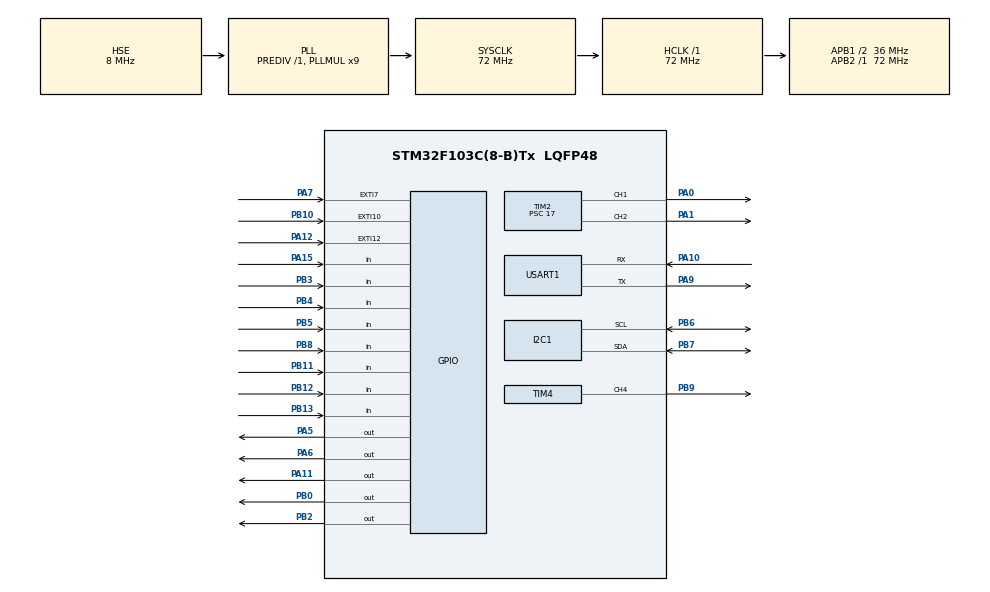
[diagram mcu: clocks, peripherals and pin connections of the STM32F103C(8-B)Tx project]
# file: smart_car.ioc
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FREERTOS.Tasks01=Microphone,0,128,TaskMicrophone,Default,NULL,Dynamic,NULL,NULL
FREERTOS.Timers01=SpeedTimer,SpeedCallback,osTimerPeriodic,Default,NULL,Dynamic,NULL
FREERTOS.configUSE_TIMERS=1
Mcu.Family=STM32F1
Mcu.Name=STM32F103C(8-B)Tx
Mcu.Package=LQFP48
NVIC.EXTI15_10_IRQn=true\:5\:0\:false\:false\:true\:true\:true\:true\:true
NVIC.EXTI9_5_IRQn=true\:5\:0\:false\:false\:true\:true\:true\:true\:true
NVIC.PriorityGroup=NVIC_PRIORITYGROUP_4
NVIC.TIM3_IRQn=true\:15\:0\:false\:false\:true\:false\:false\:true\:true
NVIC.TimeBase=TIM3_IRQn
NVIC.TimeBaseIP=TIM3
NVIC.USART1_IRQn=true\:5\:0\:false\:false\:true\:true\:true\:true\:true
PA0-WKUP.Signal=S_TIM2_CH1_ETR
PA1.Signal=S_TIM2_CH2
PA10.Mode=Asynchronous
PA10.Signal=USART1_RX
PA11.Signal=GPIO_Output
PA12.Signal=GPXTI12
PA13.Mode=Serial_Wire
PA13.Signal=SYS_JTMS-SWDIO
PA14.Mode=Serial_Wire
PA14.Signal=SYS_JTCK-SWCLK
PA15.Signal=GPIO_Input
PA5.Signal=GPIO_Output
PA6.Signal=GPIO_Output
PA7.GPIO_ModeDefaultEXTI=GPIO_MODE_IT_FALLING
PA7.GPIO_PuPd=GPIO_NOPULL
PA7.Signal=GPXTI7
PA9.Mode=Asynchronous
PA9.Signal=USART1_TX
PB0.Signal=GPIO_Output
PB10.GPIO_ModeDefaultEXTI=GPIO_MODE_IT_FALLING
PB10.Signal=GPXTI10
PB11.Signal=GPIO_Input
PB12.Signal=GPIO_Input
PB13.Signal=GPIO_Input
PB2.Signal=GPIO_Output
PB3.Signal=GPIO_Input
PB4.Signal=GPIO_Input
PB5.Signal=GPIO_Input
PB6.Mode=I2C
PB6.Signal=I2C1_SCL
PB7.Mode=I2C
PB7.Signal=I2C1_SDA
PB8.Signal=GPIO_Input
PB9.Signal=S_TIM4_CH4
PD0-OSC_IN.Mode=HSE-External-Oscillator
PD0-OSC_IN.Signal=RCC_OSC_IN
PD1-OSC_OUT.Mode=HSE-External-Oscillator
PD1-OSC_OUT.Signal=RCC_OSC_OUT
ProjectManager.HeapSize=0x200
ProjectManager.StackSize=0x400
ProjectManager.TargetToolchain=MDK-ARM V5.32
RCC.AHBFreq_Value=72000000
RCC.APB1CLKDivider=RCC_HCLK_DIV2
RCC.APB1Freq_Value=36000000
RCC.APB1TimFreq_Value=72000000
RCC.APB2Freq_Value=72000000
RCC.APB2TimFreq_Value=72000000
RCC.HCLKFreq_Value=72000000
RCC.PLLMUL=RCC_PLL_MUL9
RCC.PLLSourceVirtual=RCC_PLLSOURCE_HSE
RCC.SYSCLKFreq_VALUE=72000000
RCC.SYSCLKSource=RCC_SYSCLKSOURCE_PLLCLK
RCC.USBFreq_Value=72000000
SH.S_TIM2_CH1_ETR.0=TIM2_CH1,PWM Generation1 CH1
SH.S_TIM2_CH2.0=TIM2_CH2,PWM Generation2 CH2
SH.S_TIM4_CH4.0=TIM4_CH4,PWM Generation4 CH4
TIM1.AutoReloadPreload=TIM_AUTORELOAD_PRELOAD_ENABLE
TIM1.Prescaler=71
TIM2.AutoReloadPreload=TIM_AUTORELOAD_PRELOAD_ENABLE
TIM2.Channel-PWM\ Generation1\ CH1=TIM_CHANNEL_1
TIM2.Channel-PWM\ Generation2\ CH2=TIM_CHANNEL_2
TIM2.Period=19
TIM2.Prescaler=17
TIM4.AutoReloadPreload=TIM_AUTORELOAD_PRELOAD_ENABLE
TIM4.Channel-PWM\ Generation4\ CH4=TIM_CHANNEL_4
TIM4.Period=199
TIM4.Prescaler=7199
USART1.VirtualMode=VM_ASYNC
VP_FREERTOS_VS_CMSIS_V1.Mode=CMSIS_V1
VP_SYS_VS_tim3.Mode=TIM3
VP_TIM1_VS_ClockSourceINT.Mode=Internal
VP_TIM2_VS_ClockSourceINT.Mode=Internal
VP_TIM4_VS_ClockSourceINT.Mode=Internal
board=custom

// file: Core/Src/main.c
/* USER CODE BEGIN Header */
/**
  ******************************************************************************
  * @file           : main.c
  * @brief          : Main program body
  ******************************************************************************
  * @attention
  *
  * Copyright (c) 2023 STMicroelectronics.
  * All rights reserved.
  *
  * This software is licensed under terms that can be found in the LICENSE file
  * in the root directory of this software component.
  * If no LICENSE file comes with this software, it is provided AS-IS.
  *
  ******************************************************************************
  */
/* USER CODE END Header */
#include "main.h"
#include "cmsis_os.h"
#include "i2c.h"
#include "tim.h"
#include "usart.h"
#include "gpio.h"

/* USER CODE BEGIN Includes */
#include <stdio.h>
#include "car_function.h"
/* USER CODE END Includes */

/* USER CODE BEGIN PV */
int fputc(int ch, FILE *file) {
	unsigned char temp[1] = {ch};
	HAL_UART_Transmit(&huart1, temp, 1, 0xfff);
	return ch;
}

/* USER CODE END PV */

void SystemClock_Config(void);
void MX_FREERTOS_Init(void);

int main(void)
{

  /* MCU Configuration--------------------------------------------------------*/

  /* Reset of all peripherals, Initializes the Flash interface and the Systick. */
  HAL_Init();

  /* Configure the system clock */
  SystemClock_Config();

  /* Initialize all configured peripherals */
  MX_GPIO_Init();
  MX_USART1_UART_Init();
  MX_TIM2_Init();
  MX_I2C1_Init();
  MX_TIM1_Init();
  MX_TIM4_Init();
  /* USER CODE BEGIN 2 */
	printf("OK\r\n");
	init();
  /* USER CODE END 2 */

  /* Call init function for freertos objects (in freertos.c) */
  MX_FREERTOS_Init();

  /* Start scheduler */
  osKernelStart();

  /* We should never get here as control is now taken by the scheduler */
  /* Infinite loop */
  while (1)
  {

  }
}

void SystemClock_Config(void)
{
  RCC_OscInitTypeDef RCC_OscInitStruct = {0};
  RCC_ClkInitTypeDef RCC_ClkInitStruct = {0};

  /** Initializes the RCC Oscillators according to the specified parameters
  * in the RCC_OscInitTypeDef structure.
  */
  RCC_OscInitStruct.OscillatorType = RCC_OSCILLATORTYPE_HSE;
  RCC_OscInitStruct.HSEState = RCC_HSE_ON;
  RCC_OscInitStruct.HSEPredivValue = RCC_HSE_PREDIV_DIV1;
  RCC_OscInitStruct.HSIState = RCC_HSI_ON;
  RCC_OscInitStruct.PLL.PLLState = RCC_PLL_ON;
  RCC_OscInitStruct.PLL.PLLSource = RCC_PLLSOURCE_HSE;
  RCC_OscInitStruct.PLL.PLLMUL = RCC_PLL_MUL9;
  if (HAL_RCC_OscConfig(&RCC_OscInitStruct) != HAL_OK)
  {
    Error_Handler();
  }

  /** Initializes the CPU, AHB and APB buses clocks
  */
  RCC_ClkInitStruct.ClockType = RCC_CLOCKTYPE_HCLK|RCC_CLOCKTYPE_SYSCLK
                              |RCC_CLOCKTYPE_PCLK1|RCC_CLOCKTYPE_PCLK2;
  RCC_ClkInitStruct.SYSCLKSource = RCC_SYSCLKSOURCE_PLLCLK;
  RCC_ClkInitStruct.AHBCLKDivider = RCC_SYSCLK_DIV1;
  RCC_ClkInitStruct.APB1CLKDivider = RCC_HCLK_DIV2;
  RCC_ClkInitStruct.APB2CLKDivider = RCC_HCLK_DIV1;

  if (HAL_RCC_ClockConfig(&RCC_ClkInitStruct, FLASH_LATENCY_2) != HAL_OK)
  {
    Error_Handler();
  }
}

void HAL_TIM_PeriodElapsedCallback(TIM_HandleTypeDef *htim)
{
  if (htim->Instance == TIM3) {
    HAL_IncTick();
  }
}

void Error_Handler(void)
{
  __disable_irq();
  while (1)
  {
  }
}

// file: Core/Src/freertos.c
/* USER CODE BEGIN Header */
/**
  ******************************************************************************
  * File Name          : freertos.c
  * Description        : Code for freertos applications
  ******************************************************************************
  * @attention
  *
  * Copyright (c) 2023 STMicroelectronics.
  * All rights reserved.
  *
  * This software is licensed under terms that can be found in the LICENSE file
  * in the root directory of this software component.
  * If no LICENSE file comes with this software, it is provided AS-IS.
  *
  ******************************************************************************
  */
/* USER CODE END Header */

#include "FreeRTOS.h"
#include "task.h"
#include "main.h"
#include "cmsis_os.h"

/* USER CODE BEGIN Includes */
#include "su03.h"
#include "car_function.h"
/* USER CODE END Includes */

osThreadId MicrophoneHandle;
osTimerId SpeedTimerHandle;

void TaskMicrophone(void const * argument);
void SpeedCallback(void const * argument);

void MX_FREERTOS_Init(void); /* (MISRA C 2004 rule 8.1) */

/* GetIdleTaskMemory prototype (linked to static allocation support) */
void vApplicationGetIdleTaskMemory( StaticTask_t **ppxIdleTaskTCBBuffer, StackType_t **ppxIdleTaskStackBuffer, uint32_t *pulIdleTaskStackSize );

/* GetTimerTaskMemory prototype (linked to static allocation support) */
void vApplicationGetTimerTaskMemory( StaticTask_t **ppxTimerTaskTCBBuffer, StackType_t **ppxTimerTaskStackBuffer, uint32_t *pulTimerTaskStackSize );

/* USER CODE BEGIN GET_IDLE_TASK_MEMORY */
static StaticTask_t xIdleTaskTCBBuffer;
static StackType_t xIdleStack[configMINIMAL_STACK_SIZE];

void vApplicationGetIdleTaskMemory( StaticTask_t **ppxIdleTaskTCBBuffer, StackType_t **ppxIdleTaskStackBuffer, uint32_t *pulIdleTaskStackSize )
{
  *ppxIdleTaskTCBBuffer = &xIdleTaskTCBBuffer;
  *ppxIdleTaskStackBuffer = &xIdleStack[0];
  *pulIdleTaskStackSize = configMINIMAL_STACK_SIZE;
  /* place for user code */
}
/* USER CODE END GET_IDLE_TASK_MEMORY */

/* USER CODE BEGIN GET_TIMER_TASK_MEMORY */
static StaticTask_t xTimerTaskTCBBuffer;
static StackType_t xTimerStack[configTIMER_TASK_STACK_DEPTH];

void vApplicationGetTimerTaskMemory( StaticTask_t **ppxTimerTaskTCBBuffer, StackType_t **ppxTimerTaskStackBuffer, uint32_t *pulTimerTaskStackSize )
{
  *ppxTimerTaskTCBBuffer = &xTimerTaskTCBBuffer;
  *ppxTimerTaskStackBuffer = &xTimerStack[0];
  *pulTimerTaskStackSize = configTIMER_TASK_STACK_DEPTH;
  /* place for user code */
}
/* USER CODE END GET_TIMER_TASK_MEMORY */

void MX_FREERTOS_Init(void) {

  /* Create the timer(s) */
  /* definition and creation of SpeedTimer */
  osTimerDef(SpeedTimer, SpeedCallback);
  SpeedTimerHandle = osTimerCreate(osTimer(SpeedTimer), osTimerPeriodic, NULL);

  /* Create the thread(s) */
  /* definition and creation of Microphone */
  osThreadDef(Microphone, TaskMicrophone, osPriorityNormal, 0, 128);
  MicrophoneHandle = osThreadCreate(osThread(Microphone), NULL);

}

void TaskMicrophone(void const * argument)
{
  /* USER CODE BEGIN TaskMicrophone */
	initTask(SpeedTimerHandle);
  /* Infinite loop */
  for(;;)
  {
		get_mode();
		reset();
		switch(runMode) {
			case tracingMode:
				traceing();
				break;
			case followMode:
				follow();
				break;
			case avoidMode:
				avoid();
				break;
			case gestureMode:
				gesture();
				break;
			case testMode:
				test();
				break;
			case stopMode:
				stop_car();
				break;
		}
    osDelay(10);
  }
  /* USER CODE END TaskMicrophone */
}

/* SpeedCallback function */
void SpeedCallback(void const * argument)
{
  /* USER CODE BEGIN SpeedCallback */
	sprintf(speedString, "speed:%4dcm/s", speedCnt);
	//old__clear_bottom_half();
	oled_show_string(2,2,speedString);
	speedCnt = 0;
  /* USER CODE END SpeedCallback */
}
